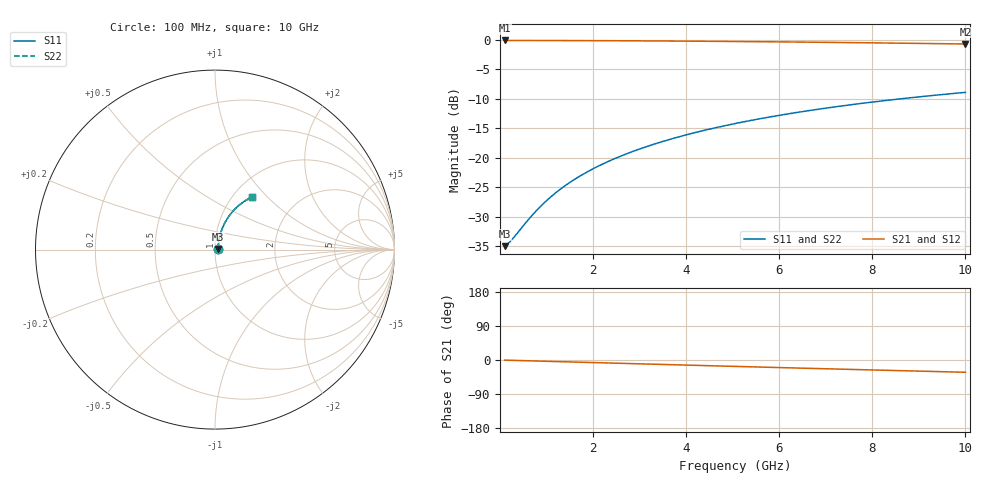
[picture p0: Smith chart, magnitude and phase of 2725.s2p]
# Hz S RI R 50.00
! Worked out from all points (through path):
!   100 points, 100 MHz to 10 GHz, reference 50 ohm
!   highest |S21| = -0.15 dB at 100 MHz (marker M1); lowest = -0.8 dB at 10 GHz (marker M2)
!   group delay of S21, straight-line fit = 9.01 ps
!   lowest |S11| = -35.0 dB at 100 MHz (marker M3), VSWR 1.04, Z = 51.8 + j0.397 ohm
!   |S11| at or under -10 dB: start of sweep to 8.656 GHz
!   |S22| runs from -35.0 to -9.0 dB; largest |S21 - S12| = 0
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1e8  0.0174 0.00383  0.9826 -0.0058  0.9826 -0.0058  0.0174 0.00383
2e8  0.0175 0.00767  0.9824 -0.0116  0.9824 -0.0116  0.0175 0.00767
3e8  0.0177 0.0115  0.9822 -0.0174  0.9822 -0.0174  0.0177 0.0115
7e8  0.0189 0.0268  0.981 -0.0405  0.981 -0.0405  0.0189 0.0268
8e8  0.0192 0.0306  0.9806 -0.0463  0.9806 -0.0463  0.0192 0.0306
1e9  0.0201 0.0382  0.9797 -0.0579  0.9797 -0.0579  0.0201 0.0382
1.2e9  0.0212 0.0458  0.9785 -0.0694  0.9785 -0.0694  0.0212 0.0458
1.4e9  0.0224 0.0533  0.9772 -0.0808  0.9772 -0.0808  0.0224 0.0533
1.6e9  0.0238 0.0608  0.9757 -0.0923  0.9757 -0.0923  0.0238 0.0608
1.8e9  0.0254 0.0683  0.974 -0.1037  0.974 -0.1037  0.0254 0.0683
2.1e9  0.028 0.0794  0.9711 -0.1207  0.9711 -0.1207  0.028 0.0794
2.5e9  0.0322 0.094  0.9665 -0.1432  0.9665 -0.1432  0.0322 0.094
2.9e9  0.037 0.1084  0.9613 -0.1654  0.9613 -0.1654  0.037 0.1084
3.4e9  0.0439 0.1259  0.9537 -0.1929  0.9537 -0.1929  0.0439 0.1259
3.8e9  0.0502 0.1396  0.9469 -0.2144  0.9469 -0.2144  0.0502 0.1396
4.2e9  0.057 0.1529  0.9395 -0.2356  0.9395 -0.2356  0.057 0.1529
5.1e9  0.0744 0.1814  0.9204 -0.2819  0.9204 -0.2819  0.0744 0.1814
5.9e9  0.092 0.2048  0.901 -0.3213  0.901 -0.3213  0.092 0.2048
6.7e9  0.1115 0.2262  0.8796 -0.3586  0.8796 -0.3586  0.1115 0.2262
7.5e9  0.1324 0.2456  0.8563 -0.394  0.8563 -0.394  0.1324 0.2456
8.4e9  0.1575 0.2649  0.8283 -0.4312  0.8283 -0.4312  0.1575 0.2649
1e10  0.2051 0.292  0.7747 -0.4906  0.7747 -0.4906  0.2051 0.292
